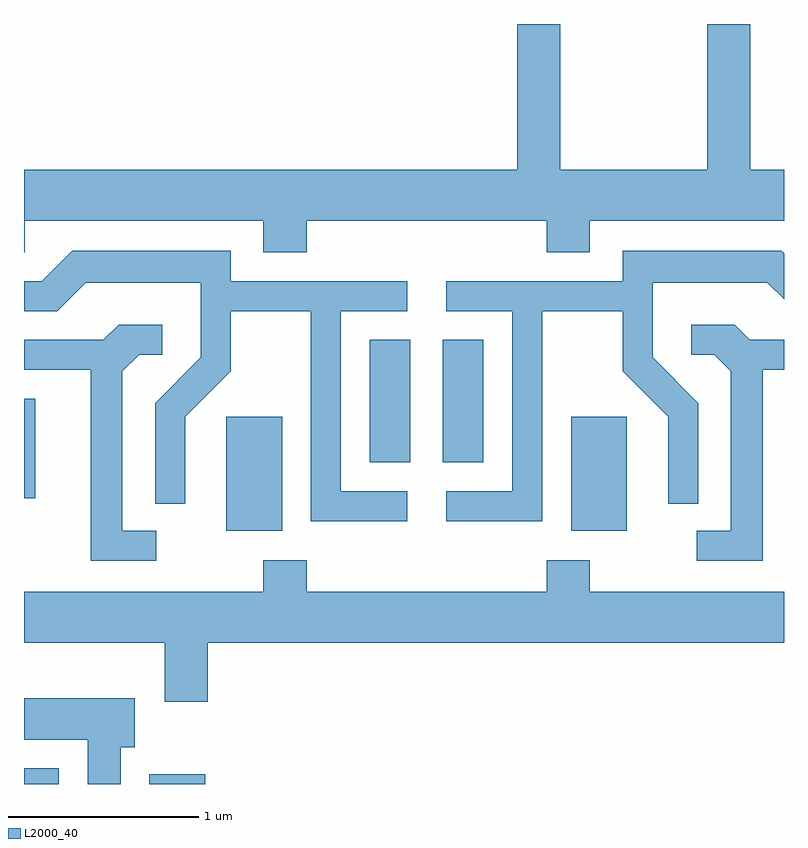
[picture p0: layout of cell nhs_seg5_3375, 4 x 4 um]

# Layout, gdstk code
import gdstk
lib = gdstk.Library(unit=1e-6, precision=1e-09)
def R(c, l, rs):  # rectangles x0, y0, x1, y1
    for r in rs: c.add(gdstk.rectangle(r[:2], r[2:], *l))
def P(c, l, *ps):  # polygons
    for p in ps: c.add(gdstk.Polygon(p, *l))
L2000_40 = (2000, 40)

nhs_seg5_3375 = lib.new_cell('nhs_seg5_3375')
R(nhs_seg5_3375, L2000_40, [(285.611,1436.072,285.794,1436.154), (286.271,1436.072,286.564,1436.124), (286.676,1437.406,286.969,1438.004), (288.491,1437.406,288.784,1438.004), (285.611,1437.576,285.669,1438.099), (287.431,1437.766,287.644,1438.409), (287.816,1437.766,288.029,1438.409)])
P(nhs_seg5_3375, L2000_40, [(285.614,1439.036),(286.871,1439.036),(286.871,1438.871),(287.099,1438.871),(287.099,1439.036),(288.361,1439.036),(288.361,1438.871),(288.589,1438.871),(288.589,1439.036),(289.611,1439.036),(289.611,1439.304),(289.434,1439.304),(289.434,1440.072),(289.206,1440.072),(289.206,1439.304),(288.434,1439.304),(288.434,1440.072),(288.206,1440.072),(288.206,1439.304),(285.611,1439.304),(285.611,1438.871),(285.614,1438.871)],
  [(288.339,1438.561),(288.761,1438.561),(288.761,1438.244),(289.001,1438.004),(289.001,1437.548),(289.159,1437.548),(289.159,1438.077),(288.919,1438.317),(288.919,1438.711),(289.524,1438.711),(289.611,1438.624),(289.611,1438.865),(289.597,1438.879),(288.761,1438.879),(288.761,1438.719),(287.833,1438.719),(287.833,1438.561),(288.181,1438.561),(288.181,1437.614),(287.833,1437.614),(287.833,1437.456),(288.339,1437.456)],
  [(287.628,1437.614),(287.279,1437.614),(287.279,1438.561),(287.628,1438.561),(287.628,1438.719),(286.699,1438.719),(286.699,1438.879),(285.864,1438.879),(285.704,1438.719),(285.611,1438.719),(285.611,1438.561),(285.787,1438.561),(285.937,1438.711),(286.541,1438.711),(286.541,1438.317),(286.301,1438.077),(286.301,1437.548),(286.459,1437.548),(286.459,1438.004),(286.699,1438.244),(286.699,1438.561),(287.121,1438.561),(287.121,1437.456),(287.628,1437.456)],
  [(286.308,1437.404),(286.129,1437.404),(286.129,1438.244),(286.217,1438.331),(286.338,1438.331),(286.338,1438.489),(286.109,1438.489),(286.029,1438.409),(285.611,1438.409),(285.611,1438.251),(285.961,1438.251),(285.961,1437.246),(286.308,1437.246)],
  [(289.499,1438.251),(289.611,1438.251),(289.611,1438.409),(289.432,1438.409),(289.352,1438.489),(289.123,1438.489),(289.123,1438.331),(289.244,1438.331),(289.331,1438.244),(289.331,1437.404),(289.153,1437.404),(289.153,1437.246),(289.499,1437.246)],
  [(286.579,1436.816),(289.611,1436.816),(289.611,1437.084),(288.589,1437.084),(288.589,1437.249),(288.361,1437.249),(288.361,1437.084),(287.099,1437.084),(287.099,1437.249),(286.871,1437.249),(286.871,1437.084),(285.611,1437.084),(285.611,1436.816),(286.351,1436.816),(286.351,1436.506),(286.579,1436.506)],
  [(286.119,1436.266),(286.194,1436.266),(286.194,1436.524),(285.611,1436.524),(285.611,1436.306),(285.946,1436.306),(285.946,1436.072),(286.119,1436.072)])

lib.write_gds('nhs_seg5_3375.gds')
